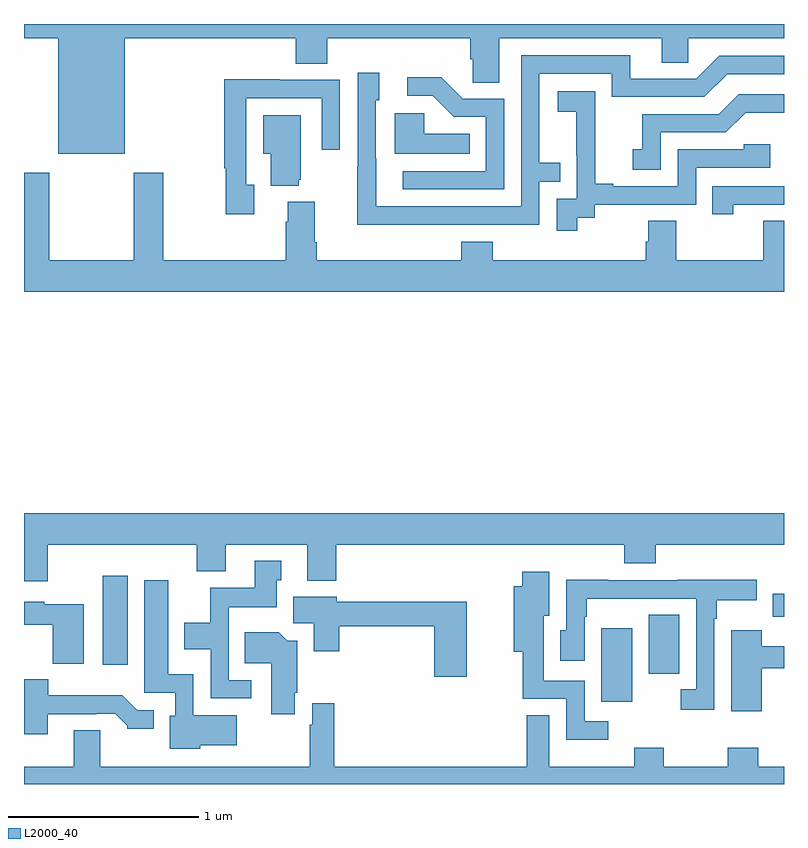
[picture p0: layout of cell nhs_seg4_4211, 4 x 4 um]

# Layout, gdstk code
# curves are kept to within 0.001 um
import gdstk
lib = gdstk.Library(unit=1e-6, precision=1e-09)
def R(c, l, rs):  # rectangles x0, y0, x1, y1
    for r in rs: c.add(gdstk.rectangle(r[:2], r[2:], *l))
def P(c, l, *ps):  # polygons
    for p in ps: c.add(gdstk.Polygon(p, *l))
L2000_40 = (2000, 40)

nhs_seg4_4211 = lib.new_cell('nhs_seg4_4211')
R(nhs_seg4_4211, L2000_40, [(338.039,789.332,338.2,789.721), (338.288,789.48,338.449,789.791), (335.414,789.528,335.545,789.997), (338.942,789.779,339,789.901)])
P(nhs_seg4_4211, L2000_40, [(335.53,792.824),(336.431,792.824),(336.431,792.691),(336.596,792.691),(336.596,792.824),(337.349,792.824),(337.349,792.715),(337.362,792.715),(337.362,792.592),(337.501,792.592),(337.501,792.824),(338.357,792.824),(338.357,792.697),(338.496,792.697),(338.496,792.824),(339,792.824),(339,792.9),(335,792.9),(335,792.824),(335.18,792.824),(335.18,792.218),(335.53,792.218)],
  [(337.217,791.844),(337.713,791.844),(337.713,792.069),(337.823,792.069),(337.823,792.17),(337.713,792.17),(337.713,792.639),(338.094,792.639),(338.094,792.516),(338.58,792.516),(338.7,792.636),(339,792.636),(339,792.732),(338.658,792.732),(338.538,792.612),(338.191,792.612),(338.191,792.735),(337.617,792.735),(337.617,791.94),(336.853,791.94),(336.852,792.498),(336.871,792.498),(336.871,792.643),(336.756,792.643),(336.756,792.149),(336.754,792.149),(336.754,791.843)],
  [(337.527,792.507),(337.308,792.507),(337.195,792.62),(337.017,792.62),(337.017,792.522),(337.151,792.522),(337.262,792.411),(337.431,792.411),(337.431,792.126),(336.993,792.126),(336.993,792.03),(337.527,792.03)],
  [(336.211,792.054),(336.171,792.054),(336.171,792.51),(336.567,792.51),(336.567,792.237),(336.663,792.237),(336.663,792.606),(336.347,792.606),(336.347,792.608),(336.055,792.608),(336.055,792.142),(336.063,792.142),(336.063,791.898),(336.211,791.898)],
  [(337.912,791.881),(338.004,791.881),(338.004,791.949),(338.538,791.949),(338.538,792.144),(338.927,792.144),(338.927,792.267),(338.787,792.267),(338.787,792.24),(338.442,792.24),(338.442,792.045),(338.101,792.045),(338.101,792.058),(338.006,792.058),(338.006,792.341),(338.007,792.341),(338.007,792.547),(337.809,792.547),(337.809,792.437),(337.907,792.437),(337.907,792.209),(337.908,792.209),(337.908,791.979),(337.803,791.979),(337.803,791.811),(337.912,791.811)],
  [(338.352,792.33),(338.694,792.33),(338.798,792.434),(339,792.434),(339,792.531),(338.762,792.531),(338.657,792.426),(338.254,792.426),(338.254,792.241),(338.205,792.241),(338.205,792.132),(338.352,792.132)],
  [(337.346,792.322),(337.107,792.322),(337.107,792.43),(336.95,792.43),(336.95,792.218),(337.346,792.218)],
  [(336.446,792.081),(336.457,792.081),(336.457,792.421),(336.26,792.421),(336.26,792.218),(336.299,792.218),(336.299,792.05),(336.446,792.05)],
  [(339,791.864),(338.89,791.864),(338.89,791.656),(338.433,791.656),(338.433,791.864),(338.285,791.864),(338.285,791.754),(338.273,791.754),(338.273,791.656),(337.466,791.656),(337.466,791.755),(337.301,791.755),(337.301,791.656),(336.542,791.656),(336.542,791.752),(336.529,791.752),(336.529,791.965),(336.389,791.965),(336.389,791.858),(336.377,791.858),(336.377,791.656),(335.733,791.656),(335.733,792.118),(335.578,792.118),(335.578,791.656),(335.133,791.656),(335.133,792.118),(335,792.118),(335,791.492),(339,791.492)],
  [(338.734,791.949),(339,791.949),(339,792.045),(338.623,792.045),(338.623,791.898),(338.734,791.898)],
  [(335.125,790.16),(335.909,790.16),(335.909,790.019),(336.061,790.019),(336.061,790.16),(336.491,790.16),(336.491,789.971),(336.644,789.971),(336.644,790.16),(338.159,790.16),(338.159,790.061),(338.324,790.061),(338.324,790.16),(339,790.16),(339,790.324),(335,790.324),(335,789.966),(335.125,789.966)],
  [(336.196,789.447),(336.078,789.447),(336.078,789.83),(336.331,789.83),(336.331,789.972),(336.355,789.972),(336.355,790.075),(336.215,790.075),(336.215,789.934),(335.98,789.934),(335.98,789.748),(335.843,789.748),(335.843,789.608),(335.982,789.608),(335.982,789.351),(336.196,789.351)],
  [(338.074,789.231),(337.95,789.231),(337.95,789.444),(337.735,789.444),(337.735,789.785),(337.765,789.785),(337.765,790.018),(337.622,790.018),(337.622,789.94),(337.577,789.94),(337.577,789.596),(337.624,789.596),(337.624,789.348),(337.854,789.348),(337.854,789.134),(338.074,789.134)],
  [(338.634,789.77),(338.647,789.77),(338.647,789.866),(338.857,789.866),(338.857,789.974),(338.441,789.974),(338.441,789.972),(338.075,789.972),(338.075,789.974),(337.854,789.974),(337.854,789.708),(337.823,789.708),(337.823,789.549),(337.95,789.549),(337.95,789.779),(337.963,789.779),(337.963,789.875),(338.192,789.875),(338.192,789.876),(338.538,789.876),(338.538,789.399),(338.457,789.399),(338.457,789.291),(338.634,789.291)],
  [(335.928,789.104),(336.121,789.104),(336.121,789.262),(335.892,789.262),(335.892,789.478),(335.758,789.478),(335.758,789.973),(335.633,789.973),(335.633,789.381),(335.796,789.381),(335.796,789.258),(335.768,789.258),(335.768,789.086),(335.928,789.086)],
  [(337.33,789.859),(336.646,789.859),(336.646,789.886),(336.416,789.886),(336.416,789.747),(336.524,789.747),(336.524,789.6),(336.659,789.6),(336.659,789.73),(337.16,789.73),(337.16,789.465),(337.33,789.465)],
  [(335.314,789.847),(335.106,789.847),(335.106,789.859),(335,789.859),(335,789.737),(335.152,789.737),(335.152,789.533),(335.314,789.533)],
  [(338.882,789.508),(339,789.508),(339,789.624),(338.882,789.624),(338.882,789.709),(338.723,789.709),(338.723,789.282),(338.882,789.282)],
  [(336.424,789.379),(336.437,789.379),(336.437,789.655),(336.386,789.655),(336.341,789.7),(336.163,789.7),(336.163,789.536),(336.302,789.536),(336.302,789.267),(336.424,789.267)],
  [(335.125,789.267),(335.381,789.267),(335.381,789.27),(335.48,789.27),(335.544,789.206),(335.544,789.191),(335.683,789.191),(335.683,789.288),(335.595,789.288),(335.517,789.367),(335.128,789.367),(335.128,789.451),(335,789.451),(335,789.162),(335.125,789.162)],
  [(339,788.992),(338.864,788.992),(338.864,789.091),(338.704,789.091),(338.704,788.992),(338.367,788.992),(338.367,789.091),(338.212,789.091),(338.212,788.992),(337.765,788.992),(337.765,789.263),(337.647,789.263),(337.647,788.992),(336.632,788.992),(336.632,789.325),(336.516,789.325),(336.516,789.212),(336.504,789.212),(336.504,788.992),(335.401,788.992),(335.401,789.182),(335.261,789.182),(335.261,788.992),(335,788.992),(335,788.9),(339,788.9)])

lib.write_gds('nhs_seg4_4211.gds')
